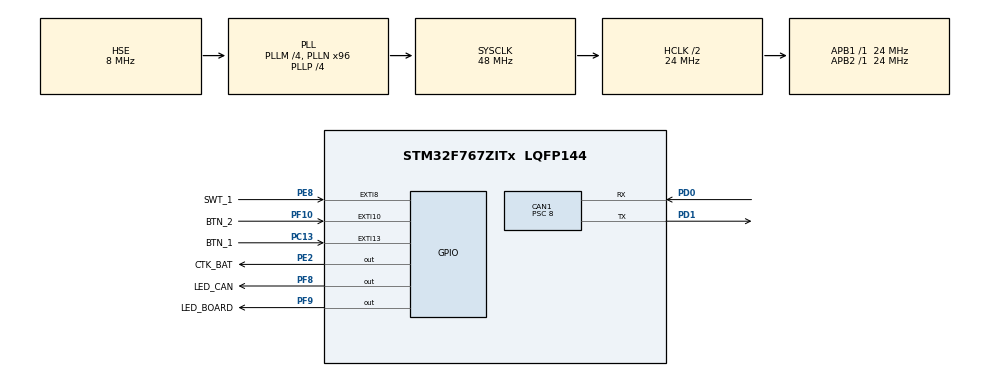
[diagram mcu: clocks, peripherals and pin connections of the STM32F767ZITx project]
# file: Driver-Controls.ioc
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CAN1.BS1=CAN_BS1_2TQ
CAN1.BS2=CAN_BS2_3TQ
CAN1.CalculateBaudRate=500000
CAN1.CalculateTimeBit=2000
CAN1.CalculateTimeQuantum=333.3333333333333
CAN1.Prescaler=8
CAN1.SJW=CAN_SJW_2TQ
CORTEX_M7.default_mode_Activation=1
Mcu.Family=STM32F7
Mcu.Name=STM32F767ZITx
Mcu.Package=LQFP144
NVIC.CAN1_RX0_IRQn=true\:0\:0\:false\:false\:true\:true\:true\:true
NVIC.EXTI15_10_IRQn=true\:0\:0\:false\:false\:true\:true\:true\:true
NVIC.EXTI9_5_IRQn=true\:0\:0\:false\:false\:true\:true\:true\:true
NVIC.PriorityGroup=NVIC_PRIORITYGROUP_4
NVIC.TIM2_IRQn=true\:0\:0\:false\:false\:true\:true\:true\:true
PC13.GPIO_Label=BTN_1
PC13.GPIO_ModeDefaultEXTI=GPIO_MODE_IT_FALLING
PC13.GPIO_PuPd=GPIO_PULLUP
PC13.Signal=GPXTI13
PD0.GPIO_PuPd=GPIO_PULLUP
PD0.Mode=CAN_Activate
PD0.Signal=CAN1_RX
PD1.Mode=CAN_Activate
PD1.Signal=CAN1_TX
PE2.GPIO_Label=CTK_BAT
PE2.Signal=GPIO_Output
PE8.GPIO_Label=SWT_1
PE8.GPIO_ModeDefaultEXTI=GPIO_MODE_IT_RISING_FALLING
PE8.Signal=GPXTI8
PF10.GPIO_Label=BTN_2
PF10.GPIO_ModeDefaultEXTI=GPIO_MODE_IT_FALLING
PF10.GPIO_PuPd=GPIO_PULLUP
PF10.Signal=GPXTI10
PF8.GPIO_Label=LED_CAN
PF8.Signal=GPIO_Output
PF9.GPIO_Label=LED_BOARD
PF9.Signal=GPIO_Output
PH0/OSC_IN.Mode=HSE-External-Oscillator
PH0/OSC_IN.Signal=RCC_OSC_IN
PH1/OSC_OUT.Mode=HSE-External-Oscillator
PH1/OSC_OUT.Signal=RCC_OSC_OUT
ProjectManager.HeapSize=0x200
ProjectManager.StackSize=0x400
ProjectManager.TargetToolchain=STM32CubeIDE
RCC.AHBCLKDivider=RCC_SYSCLK_DIV2
RCC.AHBFreq_Value=24000000
RCC.APB1Freq_Value=24000000
RCC.APB1TimFreq_Value=24000000
RCC.APB2Freq_Value=24000000
RCC.APB2TimFreq_Value=24000000
RCC.CortexFreq_Value=24000000
RCC.HCLKFreq_Value=24000000
RCC.HSE_VALUE=8000000
RCC.HSI_VALUE=16000000
RCC.LSE_VALUE=32768
RCC.PLLM=4
RCC.PLLN=96
RCC.PLLP=RCC_PLLP_DIV4
RCC.PLLSourceVirtual=RCC_PLLSOURCE_HSE
RCC.SYSCLKFreq_VALUE=48000000
RCC.SYSCLKSource=RCC_SYSCLKSOURCE_PLLCLK
RCC.USBFreq_Value=96000000
RCC.VCOOutputFreq_Value=192000000
TIM2.Period=1000000
TIM2.Prescaler=24
VP_TIM2_VS_ClockSourceINT.Mode=Internal
board=custom

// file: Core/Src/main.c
/* USER CODE BEGIN Header */
/**
  ******************************************************************************
  * @file           : main.c
  * @brief          : Main program body
  ******************************************************************************
  * @attention
  *
  * Copyright (c) 2024 STMicroelectronics.
  * All rights reserved.
  *
  * This software is licensed under terms that can be found in the LICENSE file
  * in the root directory of this software component.
  * If no LICENSE file comes with this software, it is provided AS-IS.
  *
  ******************************************************************************
  */
/* USER CODE END Header */
#include <driver_controls_params.h>
#include "main.h"

/* USER CODE BEGIN Includes */
#include "can.h"
#include "sys_can_transmit.h"
#include "sys_can_receive.h"

/* USER CODE END Includes */

CAN_HandleTypeDef hcan1;

TIM_HandleTypeDef htim2;

/* USER CODE BEGIN PV */

board_param_t* hvbps_params;

uint32_t* TxMailbox;

/* USER CODE END PV */

void SystemClock_Config(void);
static void MPU_Config(void);
static void MX_GPIO_Init(void);
static void MX_CAN1_Init(void);
static void MX_TIM2_Init(void);

/* USER CODE BEGIN 0 */
void HAL_CAN_RxFifo0MsgPendingCallback(CAN_HandleTypeDef *hcan) {
	can_receive_message();
}
/* USER CODE END 0 */

int main(void)
{

  /* USER CODE BEGIN 1 */

  hvbps_params = get_params();

  /* USER CODE END 1 */

  /* MPU Configuration--------------------------------------------------------*/
  MPU_Config();

  /* MCU Configuration--------------------------------------------------------*/

  /* Reset of all peripherals, Initializes the Flash interface and the Systick. */
  HAL_Init();

  /* Configure the system clock */
  SystemClock_Config();

  /* Initialize all configured peripherals */
  MX_GPIO_Init();
  MX_CAN1_Init();
  MX_TIM2_Init();
  /* USER CODE BEGIN 2 */
  HAL_CAN_Start(&hcan1);
  can_tx_init(&hcan1, TxMailbox, hvbps_params, NUM_PARAMS);
  can_rx_init(&hcan1, hvbps_params, NUM_PARAMS);
  HAL_CAN_ActivateNotification(&hcan1, CAN_IT_RX_FIFO0_MSG_PENDING);
  /* USER CODE END 2 */

  /* Infinite loop */
  while (1)
  {
	  can_incremental_update();
	  check_staleness(&hvbps_params, NUM_PARAMS);
  }
}

void SystemClock_Config(void)
{
  RCC_OscInitTypeDef RCC_OscInitStruct = {0};
  RCC_ClkInitTypeDef RCC_ClkInitStruct = {0};

  /** Configure the main internal regulator output voltage
  */
  __HAL_RCC_PWR_CLK_ENABLE();
  __HAL_PWR_VOLTAGESCALING_CONFIG(PWR_REGULATOR_VOLTAGE_SCALE3);

  /** Initializes the RCC Oscillators according to the specified parameters
  * in the RCC_OscInitTypeDef structure.
  */
  RCC_OscInitStruct.OscillatorType = RCC_OSCILLATORTYPE_HSE;
  RCC_OscInitStruct.HSEState = RCC_HSE_ON;
  RCC_OscInitStruct.PLL.PLLState = RCC_PLL_ON;
  RCC_OscInitStruct.PLL.PLLSource = RCC_PLLSOURCE_HSE;
  RCC_OscInitStruct.PLL.PLLM = 4;
  RCC_OscInitStruct.PLL.PLLN = 96;
  RCC_OscInitStruct.PLL.PLLP = RCC_PLLP_DIV4;
  RCC_OscInitStruct.PLL.PLLQ = 2;
  RCC_OscInitStruct.PLL.PLLR = 2;
  if (HAL_RCC_OscConfig(&RCC_OscInitStruct) != HAL_OK)
  {
    Error_Handler();
  }

  /** Initializes the CPU, AHB and APB buses clocks
  */
  RCC_ClkInitStruct.ClockType = RCC_CLOCKTYPE_HCLK|RCC_CLOCKTYPE_SYSCLK
                              |RCC_CLOCKTYPE_PCLK1|RCC_CLOCKTYPE_PCLK2;
  RCC_ClkInitStruct.SYSCLKSource = RCC_SYSCLKSOURCE_PLLCLK;
  RCC_ClkInitStruct.AHBCLKDivider = RCC_SYSCLK_DIV2;
  RCC_ClkInitStruct.APB1CLKDivider = RCC_HCLK_DIV1;
  RCC_ClkInitStruct.APB2CLKDivider = RCC_HCLK_DIV1;

  if (HAL_RCC_ClockConfig(&RCC_ClkInitStruct, FLASH_LATENCY_0) != HAL_OK)
  {
    Error_Handler();
  }
}

static void MX_CAN1_Init(void)
{

  hcan1.Instance = CAN1;
  hcan1.Init.Prescaler = 8;
  hcan1.Init.Mode = CAN_MODE_NORMAL;
  hcan1.Init.SyncJumpWidth = CAN_SJW_2TQ;
  hcan1.Init.TimeSeg1 = CAN_BS1_2TQ;
  hcan1.Init.TimeSeg2 = CAN_BS2_3TQ;
  hcan1.Init.TimeTriggeredMode = DISABLE;
  hcan1.Init.AutoBusOff = DISABLE;
  hcan1.Init.AutoWakeUp = DISABLE;
  hcan1.Init.AutoRetransmission = DISABLE;
  hcan1.Init.ReceiveFifoLocked = DISABLE;
  hcan1.Init.TransmitFifoPriority = DISABLE;
  if (HAL_CAN_Init(&hcan1) != HAL_OK)
  {
    Error_Handler();
  }
  /* USER CODE BEGIN CAN1_Init 2 */
  CAN_FilterTypeDef canfilterconfig;

  canfilterconfig.FilterActivation = CAN_FILTER_ENABLE;
  canfilterconfig.FilterBank = 18;  // which filter bank to use from the assigned ones
  canfilterconfig.FilterFIFOAssignment = CAN_FILTER_FIFO0;
  canfilterconfig.FilterIdHigh = 0x000<<5; // 0x001
  canfilterconfig.FilterIdLow = 0;
  canfilterconfig.FilterMaskIdHigh = 0x000<<5; // 0x001
  canfilterconfig.FilterMaskIdLow = 0x0000;
  canfilterconfig.FilterMode = CAN_FILTERMODE_IDMASK;
  canfilterconfig.FilterScale = CAN_FILTERSCALE_32BIT;
  canfilterconfig.SlaveStartFilterBank = 20;  // how many filters to assign to the CAN1 (master can)

  HAL_CAN_ConfigFilter(&hcan1, &canfilterconfig);
  /* USER CODE END CAN1_Init 2 */

}

static void MX_TIM2_Init(void)
{

  TIM_ClockConfigTypeDef sClockSourceConfig = {0};
  TIM_MasterConfigTypeDef sMasterConfig = {0};

  htim2.Instance = TIM2;
  htim2.Init.Prescaler = 24;
  htim2.Init.CounterMode = TIM_COUNTERMODE_UP;
  htim2.Init.Period = 1000000;
  htim2.Init.ClockDivision = TIM_CLOCKDIVISION_DIV1;
  htim2.Init.AutoReloadPreload = TIM_AUTORELOAD_PRELOAD_DISABLE;
  if (HAL_TIM_Base_Init(&htim2) != HAL_OK)
  {
    Error_Handler();
  }
  sClockSourceConfig.ClockSource = TIM_CLOCKSOURCE_INTERNAL;
  if (HAL_TIM_ConfigClockSource(&htim2, &sClockSourceConfig) != HAL_OK)
  {
    Error_Handler();
  }
  sMasterConfig.MasterOutputTrigger = TIM_TRGO_RESET;
  sMasterConfig.MasterSlaveMode = TIM_MASTERSLAVEMODE_DISABLE;
  if (HAL_TIMEx_MasterConfigSynchronization(&htim2, &sMasterConfig) != HAL_OK)
  {
    Error_Handler();
  }

}

static void MX_GPIO_Init(void)
{
  GPIO_InitTypeDef GPIO_InitStruct = {0};

  /* GPIO Ports Clock Enable */
  __HAL_RCC_GPIOE_CLK_ENABLE();
  __HAL_RCC_GPIOC_CLK_ENABLE();
  __HAL_RCC_GPIOF_CLK_ENABLE();
  __HAL_RCC_GPIOH_CLK_ENABLE();
  __HAL_RCC_GPIOD_CLK_ENABLE();

  /*Configure GPIO pin Output Level */
  HAL_GPIO_WritePin(CTK_BAT_GPIO_Port, CTK_BAT_Pin, GPIO_PIN_RESET);

  /*Configure GPIO pin Output Level */
  HAL_GPIO_WritePin(GPIOF, LED_CAN_Pin|LED_BOARD_Pin, GPIO_PIN_RESET);

  /*Configure GPIO pin : CTK_BAT_Pin */
  GPIO_InitStruct.Pin = CTK_BAT_Pin;
  GPIO_InitStruct.Mode = GPIO_MODE_OUTPUT_PP;
  GPIO_InitStruct.Pull = GPIO_NOPULL;
  GPIO_InitStruct.Speed = GPIO_SPEED_FREQ_LOW;
  HAL_GPIO_Init(CTK_BAT_GPIO_Port, &GPIO_InitStruct);

  /*Configure GPIO pin : BTN_1_Pin */
  GPIO_InitStruct.Pin = BTN_1_Pin;
  GPIO_InitStruct.Mode = GPIO_MODE_IT_FALLING;
  GPIO_InitStruct.Pull = GPIO_PULLUP;
  HAL_GPIO_Init(BTN_1_GPIO_Port, &GPIO_InitStruct);

  /*Configure GPIO pins : LED_CAN_Pin LED_BOARD_Pin */
  GPIO_InitStruct.Pin = LED_CAN_Pin|LED_BOARD_Pin;
  GPIO_InitStruct.Mode = GPIO_MODE_OUTPUT_PP;
  GPIO_InitStruct.Pull = GPIO_NOPULL;
  GPIO_InitStruct.Speed = GPIO_SPEED_FREQ_LOW;
  HAL_GPIO_Init(GPIOF, &GPIO_InitStruct);

  /*Configure GPIO pin : BTN_2_Pin */
  GPIO_InitStruct.Pin = BTN_2_Pin;
  GPIO_InitStruct.Mode = GPIO_MODE_IT_FALLING;
  GPIO_InitStruct.Pull = GPIO_PULLUP;
  HAL_GPIO_Init(BTN_2_GPIO_Port, &GPIO_InitStruct);

  /*Configure GPIO pin : SWT_1_Pin */
  GPIO_InitStruct.Pin = SWT_1_Pin;
  GPIO_InitStruct.Mode = GPIO_MODE_IT_RISING_FALLING;
  GPIO_InitStruct.Pull = GPIO_NOPULL;
  HAL_GPIO_Init(SWT_1_GPIO_Port, &GPIO_InitStruct);

  /* EXTI interrupt init*/
  HAL_NVIC_SetPriority(EXTI9_5_IRQn, 0, 0);
  HAL_NVIC_EnableIRQ(EXTI9_5_IRQn);

  HAL_NVIC_SetPriority(EXTI15_10_IRQn, 0, 0);
  HAL_NVIC_EnableIRQ(EXTI15_10_IRQn);

}

 /* MPU Configuration */

void MPU_Config(void)
{
  MPU_Region_InitTypeDef MPU_InitStruct = {0};

  /* Disables the MPU */
  HAL_MPU_Disable();

  /** Initializes and configures the Region and the memory to be protected
  */
  MPU_InitStruct.Enable = MPU_REGION_ENABLE;
  MPU_InitStruct.Number = MPU_REGION_NUMBER0;
  MPU_InitStruct.BaseAddress = 0x0;
  MPU_InitStruct.Size = MPU_REGION_SIZE_4GB;
  MPU_InitStruct.SubRegionDisable = 0x87;
  MPU_InitStruct.TypeExtField = MPU_TEX_LEVEL0;
  MPU_InitStruct.AccessPermission = MPU_REGION_NO_ACCESS;
  MPU_InitStruct.DisableExec = MPU_INSTRUCTION_ACCESS_DISABLE;
  MPU_InitStruct.IsShareable = MPU_ACCESS_SHAREABLE;
  MPU_InitStruct.IsCacheable = MPU_ACCESS_NOT_CACHEABLE;
  MPU_InitStruct.IsBufferable = MPU_ACCESS_NOT_BUFFERABLE;

  HAL_MPU_ConfigRegion(&MPU_InitStruct);
  /* Enables the MPU */
  HAL_MPU_Enable(MPU_PRIVILEGED_DEFAULT);

}

void Error_Handler(void)
{
  __disable_irq();
  while (1)
  {
  }
}
